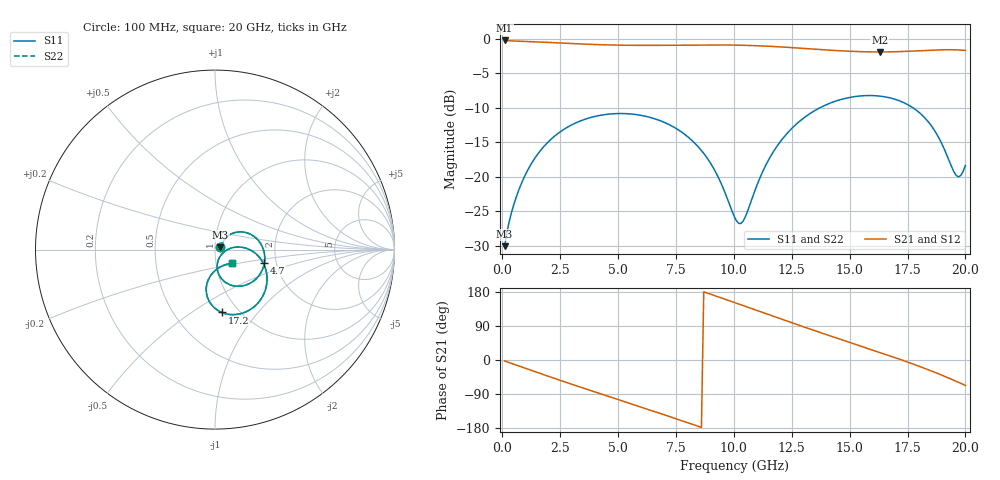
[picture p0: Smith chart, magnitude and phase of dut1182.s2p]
! Touchstone file exported from HFSS 2026.1.0
!  File:  C:/ffzhzh/LocalFiles/Ansys_Project_Files/temp_train_TSV_RDL_1182_1783315905_38820.aedt
!  Generated:  01:45:12 PM Jul  6, 2026
!  Design:  TSV_RDL
!  Project:  temp_train_TSV_RDL_1182_1783315905_38820
! Variables:
!  h_bsmrdl = 5.62um
!  h_ox = 20um
!  h_rdl = 5um
!  h_sub = 52.63um
!  h_tmrdl = 5.01um
!  h_tsv = 52.63um
!  h_via = 3um
!  l_bsmrdl = 860.78um
!  l_sub = 7029.01um
!  l_tmrdl = 983.16um
!  m_sub = 200um
!  pitch = 32.29um
!  r_tsv = 5.99um
!  s_tmrdl = 10um
!  w_bsmrdl = 10.16um
!  w_sub = 500um
!  w_tmrdl = 27.85um
!  x_tsv_center1 = 997.085um
!  x_tsv_center2 = 1868.025um
!  x_tsv_center3 = 2879.035um
!  x_tsv_center4 = 3749.975um
!  x_tsv_center5 = 4760.985um
!  x_tsv_center6 = 5631.925um
# GHz S MA R 50.000000
! Terminal data exported
! Port[1] = TM_RDL1_1_T1
! Port[2] = TM_RDL5_1_T1
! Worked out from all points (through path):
!   200 points, 100 MHz to 20 GHz, reference 50 ohm
!   highest |S21| = -0.25 dB at 100 MHz (marker M1); lowest = -1.9 dB at 16.3 GHz (marker M2)
!   group delay of S21, straight-line fit = 58.3 ps
!   lowest |S11| = -30.1 dB at 100 MHz (marker M3), VSWR 1.06, Z = 53 + j1.28 ohm
!   |S11| at or under -10 dB: start of sweep to 13.72 GHz; 17.73 GHz to end of sweep
!   |S22| runs from -30.1 to -8.2 dB; largest |S21 - S12| = 1.6e-14
!   S11 on the Smith chart (normalised r, x): 100 MHz: 1.06, +0.03; 4.7 GHz: 1.73, -0.28; 17.2 GHz: 0.84, -0.67; 20 GHz: 1.19, -0.18
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0.1  0.03139 22.7  0.9715 -2.4  0.9715 -2.4  0.03139 22.7
! Gamma 0 0 0 0
! Port Impedance 50 0 50 0
0.6  0.07098 46.0  0.9618 -13.4  0.9618 -13.4  0.07098 46.0
1.3  0.1279 43.6  0.9522 -28.4  0.9522 -28.4  0.1279 43.6
2.4  0.2055 26.4  0.933 -51.6  0.933 -51.6  0.2056 26.4
3.5  0.2584 6.6  0.9145 -74.2  0.9145 -74.2  0.2584 6.5
4.7  0.2852 -15.2  0.9006 -98.3  0.9006 -98.3  0.2852 -15.2
5.7  0.2831 -33.0  0.8954 -118.4  0.8954 -118.4  0.2832 -33.0
6.8  0.2554 -52.1  0.8954 -140.6  0.8954 -140.6  0.2555 -52.1
7.8  0.2075 -68.4  0.8984 -161.2  0.8984 -161.2  0.2075 -68.5
8.7  0.1475 -80.3  0.9009 180.0  0.9009 180.0  0.1475 -80.4
9.3  0.1012 -83.3  0.9012 167.2  0.9012 167.2  0.1013 -83.4
10.1  0.04829 -55.0  0.8985 150.0  0.8985 150.0  0.0482 -55.3
10.4  0.0476 -25.1  0.8963 143.5  0.8963 143.5  0.04745 -25.2
11.8  0.1604 4.0  0.8768 113.3  0.8768 113.3  0.1603 4.0
13.4  0.2948 -19.2  0.8419 79.4  0.8419 79.4  0.2948 -19.3
14.9  0.3724 -44.8  0.8126 48.6  0.8126 48.6  0.3724 -44.9
16.3  0.3839 -68.7  0.8021 20.1  0.8021 20.1  0.384 -68.8
16.7  0.3741 -75.4  0.8032 11.8  0.8032 11.8  0.3742 -75.6
17.2  0.3523 -83.7  0.8071 1.2  0.8071 1.2  0.3524 -83.8
18.6  0.225 -102.5  0.827 -30.6  0.827 -30.6  0.225 -102.7
19.6  0.1022 -75.6  0.8308 -56.2  0.8308 -56.2  0.1019 -75.9
20  0.1206 -39.2  0.8228 -67.1  0.8228 -67.1  0.1201 -39.3
